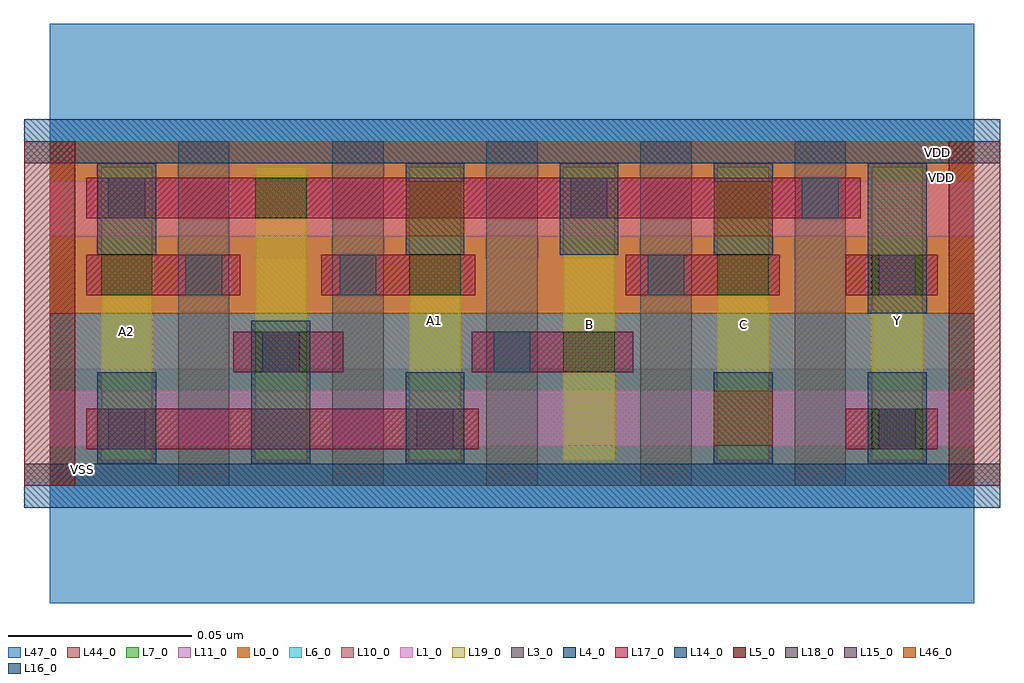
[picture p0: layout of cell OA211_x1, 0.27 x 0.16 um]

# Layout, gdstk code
import gdstk
lib = gdstk.Library(unit=1e-6, precision=5e-10)
def R(c, l, rs):  # rectangles x0, y0, x1, y1
    for r in rs: c.add(gdstk.rectangle(r[:2], r[2:], *l))
def A(c, l, x, y, w, h, nx, ny, dx, dy):  # array of equal rectangles
    R(c, l, [(x+i*dx, y+j*dy, x+i*dx+w, y+j*dy+h) for i in range(nx) for j in range(ny)])
L0_0 = (0, 0)
L1_0 = (1, 0)
L3_0 = (3, 0)
L4_0 = (4, 0)
L5_0 = (5, 0)
L6_0 = (6, 0)
L7_0 = (7, 0)
L10_0 = (10, 0)
L11_0 = (11, 0)
L14_0 = (14, 0)
L15_0 = (15, 0)
L16_0 = (16, 0)
L17_0 = (17, 0)
L18_0 = (18, 0)
L19_0 = (19, 0)
L44_0 = (44, 0)
L46_0 = (46, 0)
L47_0 = (47, 0)

oa211_x1 = lib.new_cell('OA211_x1')
R(oa211_x1, L0_0, [(0,0.047,0.252,0.094)])
R(oa211_x1, L1_0, [(0,0.011,0.252,0.026), (0,0.068,0.252,0.083)])
A(oa211_x1, L3_0, 0.035, 0, 0.014, 0.094, 5, 1, 0.042, 0)
R(oa211_x1, L4_0, [(-0.007,-0.006,0.259,0.006), (-0.007,0.088,0.259,0.1)])
R(oa211_x1, L5_0, [(-0.007,0,0.007,0.094), (0.245,0,0.259,0.094)])
R(oa211_x1, L6_0, [(0,0,0.252,0.047)])
R(oa211_x1, L7_0, [(0,0.047,0.252,0.094)])
R(oa211_x1, L10_0, [(0,0,0.252,0.047)])
R(oa211_x1, L11_0, [(0,0.047,0.252,0.094)])
A(oa211_x1, L14_0, 0.013, 0.006, 0.016, 0.025, 3, 1, 0.084, 0)
A(oa211_x1, L14_0, 0.097, 0.063, 0.016, 0.025, 3, 1, 0.042, 0)
R(oa211_x1, L14_0, [(0.055,0.006,0.071,0.045), (0.223,0.006,0.239,0.031), (0.223,0.047,0.239,0.088), (0.013,0.063,0.029,0.088)])
R(oa211_x1, L15_0, [(0.016,0.01,0.026,0.021), (0.1,0.01,0.11,0.021), (0.226,0.01,0.236,0.021), (0.058,0.031,0.068,0.042), (0.226,0.052,0.236,0.063), (0.016,0.073,0.026,0.084), (0.142,0.073,0.152,0.084)])
R(oa211_x1, L16_0, [(0.121,0.031,0.131,0.042), (0.037,0.052,0.047,0.063), (0.079,0.052,0.089,0.063), (0.163,0.052,0.173,0.063), (0.205,0.073,0.215,0.084)])
R(oa211_x1, L17_0, [(0.01,0.01,0.117,0.021), (0.217,0.01,0.242,0.021), (0.05,0.031,0.08,0.042), (0.115,0.031,0.159,0.042), (0.01,0.052,0.052,0.063), (0.074,0.052,0.116,0.063), (0.157,0.052,0.199,0.063), (0.217,0.052,0.242,0.063), (0.01,0.073,0.221,0.084)])
A(oa211_x1, L18_0, 0.014, 0.052, 0.014, 0.011, 3, 1, 0.084, 0)
R(oa211_x1, L18_0, [(0.224,0.01,0.238,0.021), (0.056,0.031,0.07,0.042), (0.14,0.031,0.154,0.042), (0.224,0.052,0.238,0.063), (0.056,0.073,0.07,0.084)])
A(oa211_x1, L19_0, 0.014, 0.007, 0.014, 0.08, 6, 1, 0.042, 0)
R(oa211_x1, L44_0, [(0,0,0.252,0.094)])
R(oa211_x1, L46_0, [(0.181,0.011,0.197,0.026), (0.097,0.068,0.113,0.083), (0.181,0.068,0.197,0.083)])
R(oa211_x1, L47_0, [(0,-0.032,0.252,0.032), (0,0.062,0.252,0.126)])
oa211_x1.add(gdstk.Label('VDD', (0.242,0.091), layer=0, texttype=2))
oa211_x1.add(gdstk.Label('A2', (0.021,0.042), layer=19, texttype=2))
oa211_x1.add(gdstk.Label('B', (0.147,0.044), layer=19, texttype=2))
oa211_x1.add(gdstk.Label('C', (0.189,0.044), layer=19, texttype=2))
oa211_x1.add(gdstk.Label('A1', (0.105,0.045), layer=19, texttype=2))
oa211_x1.add(gdstk.Label('Y', (0.231,0.045), layer=19, texttype=2))
oa211_x1.add(gdstk.Label('VDD', (0.243,0.084), layer=47, texttype=2))
oa211_x1.add(gdstk.Label('VSS', (0.009,0.0045), layer=47, texttype=2))
oa211_x1.add(gdstk.Label('VSS', (0.01,0.002), layer=54, texttype=2))

lib.write_gds('OA211_x1.gds')
